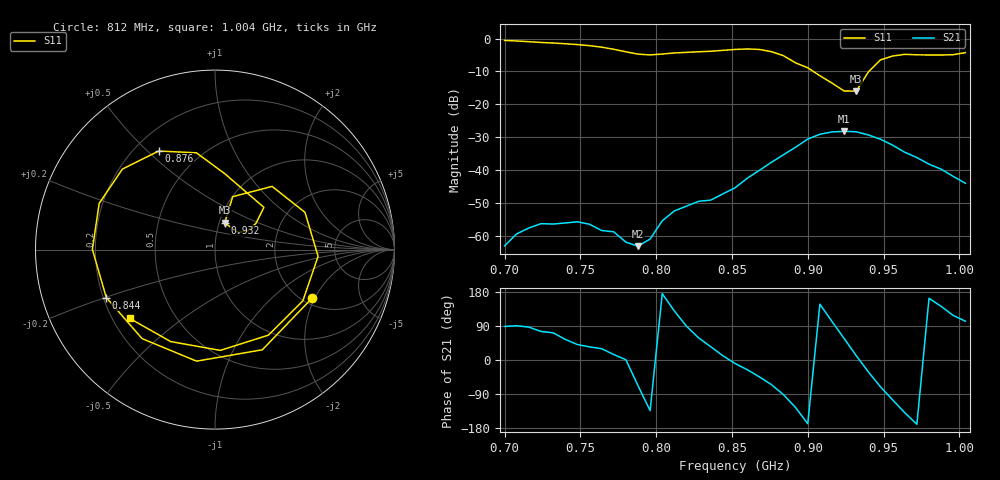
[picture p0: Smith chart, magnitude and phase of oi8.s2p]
# Hz S RI R 50
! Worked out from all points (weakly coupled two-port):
!   39 points, 700 MHz to 1.004 GHz, reference 50 ohm
!   highest |S21| = -28.20 dB at 924 MHz (marker M1); lowest = -63.1 dB at 788 MHz (marker M2)
!   lowest |S11| = -16.0 dB at 932 MHz (marker M3), VSWR 1.38, Z = 53.2 + j16.3 ohm
!   |S11| at or under -10 dB: 903.7 MHz to 940.3 MHz (36.6 MHz wide, 3.97 % of centre)
!   S12 and S22 are empty: the file has one direction only
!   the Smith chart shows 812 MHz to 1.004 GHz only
!   S11 on the Smith chart (normalised r, x): 812 MHz: 2.23, -1.90; 844 MHz: 0.21, -0.20; 876 MHz: 0.30, +0.54; 932 MHz: 1.06, +0.33; 1.004 GHz: 0.27, -0.33
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7e8  0.7563 0.5509  1.8e-05 0.000708  0 0  0 0
7.24e8  0.8382 -0.2413  0.00039 0.00149  0 0  0 0
7.4e8  0.4578 -0.6977  0.000915 0.00128  0 0  0 0
7.56e8  -0.1897 -0.7563  0.00124 0.000857  0 0  0 0
7.72e8  -0.6567 -0.2015  0.00112 0.000287  0 0  0 0
7.88e8  -0.2468 0.5246  0.000266 -0.000648  0 0  0 0
7.96e8  0.232 0.5144  -0.000621 -0.00065  0 0  0 0
8.04e8  0.5552 0.1727  -0.00169 0.000148  0 0  0 0
8.12e8  0.5403 -0.2708  -0.00152 0.00186  0 0  0 0
8.28e8  -0.1027 -0.6215  0.00177 0.00286  0 0  0 0
8.44e8  -0.6057 -0.2672  0.00428 0.000852  0 0  0 0
8.52e8  -0.6832 0.00137  0.00532 -0.000852  0 0  0 0
8.76e8  -0.3136 0.5492  0.00558 -0.0119  0 0  0 0
9e8  0.2726 0.2356  -0.0291 -0.00608  0 0  0 0
9.08e8  0.2289 0.1472  -0.0295 0.019  0 0  0 0
9.24e8  0.1284 0.0951  0.0214 0.0325  0 0  0 0
9.32e8  0.0541 0.1493  0.0376 0.00749  0 0  0 0
9.48e8  0.3181 0.3521  0.00967 -0.0279  0 0  0 0
9.56e8  0.5015 0.2072  -0.00634 -0.0231  0 0  0 0
9.64e8  0.5744 -0.0373  -0.0141 -0.0123  0 0  0 0
9.8e8  0.2976 -0.4767  -0.0118 0.00364  0 0  0 0
1.004e9  -0.476 -0.383  -0.00136 0.00618  0 0  0 0
